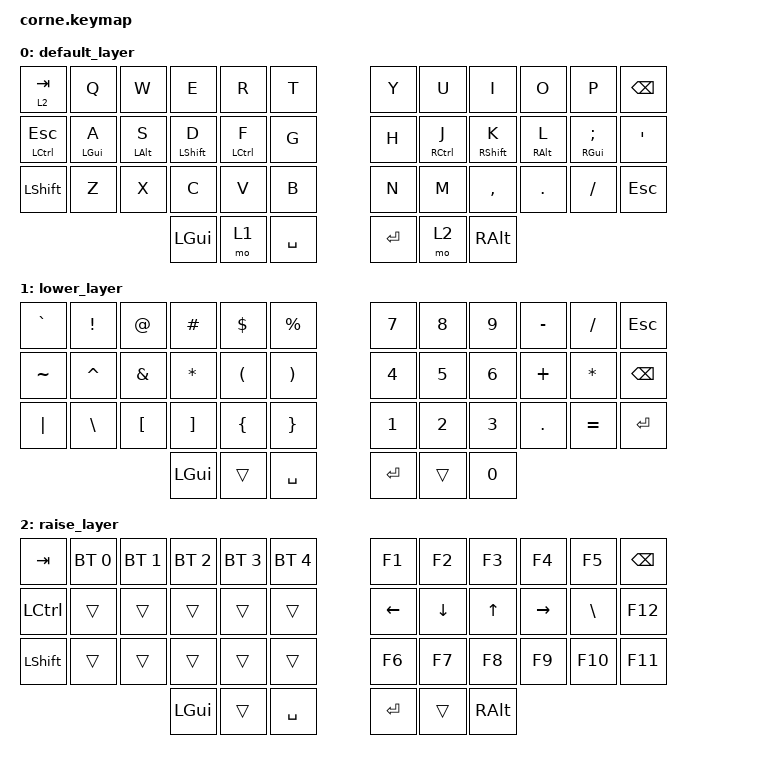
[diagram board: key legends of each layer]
/*
 * Copyright (c) 2020 The ZMK Contributors
 *
 * SPDX-License-Identifier: MIT
 */

#include <behaviors.dtsi>
#include <dt-bindings/zmk/keys.h>
#include <dt-bindings/zmk/bt.h>

/ {
        keymap {
                compatible = "zmk,keymap";

                default_layer {
// -----------------------------------------------------------------------------------------
// | LT2/TAB |  Q  |  W  |  E  |  R  |  T  |   |  Y  |  U  |  I  |  O  |  P  | BSPC |
// | ESC/CTL |  A  |  S  |  D  |  F  |  G  |   |  H  |  J  |  K  |  L  |  ;  |  '   |
// |   SHFT  |  Z  |  X  |  C  |  V  |  B  |   |  N  |  M  |  ,  |  .  |  /  | ESC  |
//                        | GUI | LWR | SPC |   | ENT | RSE | ALT |
                        bindings = <
   &lt 2 TAB        &kp Q        &kp W        &kp E        &kp R        &kp T          &kp Y    &kp U        &kp I        &kp O        &kp P        &kp BSPC
   &mt LCTRL ESC    &mt LGUI A   &mt LALT S   &mt LSHFT D  &mt LCTRL F  &kp G          &kp H    &mt RCTRL J  &mt RSHFT K  &mt RALT L   &mt RGUI SEMI &kp SQT
   &kp LSHFT        &kp Z        &kp X        &kp C        &kp V        &kp B          &kp N    &kp M        &kp COMMA    &kp DOT      &kp FSLH     &kp ESC
                                              &kp LGUI     &mo 1        &kp SPACE      &kp RET  &mo 2        &kp RALT
                        >;
                };

                lower_layer {
// -----------------------------------------------------------------------------------------
// |  `  |  !  |  @  |  #  |  $  |  %  |   |  7  |  8  |  9  |  -  |  /  | ESC  |
// |  ~  |  ^  |  &  |  *  |  (  |  )  |   |  4  |  5  |  6  |  +  |  *  | BSPC |
// |  |  |  \  |  [  |  ]  |  {  |  }  |   |  1  |  2  |  3  |  .  |  =  | ENT  |
//                    | GUI | LWR | SPC |   | ENT | RSE |  0  |
                        bindings = <
   &kp GRAVE  &kp EXCL  &kp AT    &kp HASH  &kp DLLR  &kp PRCNT      &kp N7   &kp N8   &kp N9   &kp MINUS  &kp FSLH   &kp ESC
   &kp TILDE  &kp CARET &kp AMPS  &kp ASTRK &kp LPAR  &kp RPAR       &kp N4   &kp N5   &kp N6   &kp PLUS   &kp ASTRK  &kp BSPC
   &kp PIPE   &kp BSLH  &kp LBKT  &kp RBKT  &kp LBRC  &kp RBRC       &kp N1   &kp N2   &kp N3   &kp DOT    &kp EQUAL  &kp RET
                                   &kp LGUI  &trans    &kp SPACE      &kp RET  &trans   &kp N0
                        >;
                };

                raise_layer {
// -----------------------------------------------------------------------------------------
// | TAB | BT0 | BT1 | BT2 | BT3 | BT4 |   |  F1 |  F2 |  F3 |  F4 |  F5  | BSPC |
// | CTL |     |     |     |     |     |   | LFT | DWN |  UP | RGT |  \   |  F12 |
// | SHT |     |     |     |     |     |   |  F6 |  F7 |  F8 |  F9 | F10  |  F11 |
//                    | GUI |     | SPC |   | ENT | RSE | ALT |
                        bindings = <
   &kp TAB    &bt BT_SEL 0  &bt BT_SEL 1  &bt BT_SEL 2  &bt BT_SEL 3  &bt BT_SEL 4      &kp F1    &kp F2    &kp F3   &kp F4     &kp F5   &kp BSPC
   &kp LCTRL  &trans        &trans        &trans        &trans        &trans             &kp LEFT  &kp DOWN  &kp UP   &kp RIGHT  &kp BSLH &kp F12
   &kp LSHFT  &trans        &trans        &trans        &trans        &trans             &kp F6    &kp F7    &kp F8   &kp F9     &kp F10  &kp F11
                                          &kp LGUI      &trans        &kp SPACE          &kp RET   &trans    &kp RALT
                        >;
                };
        };
};
